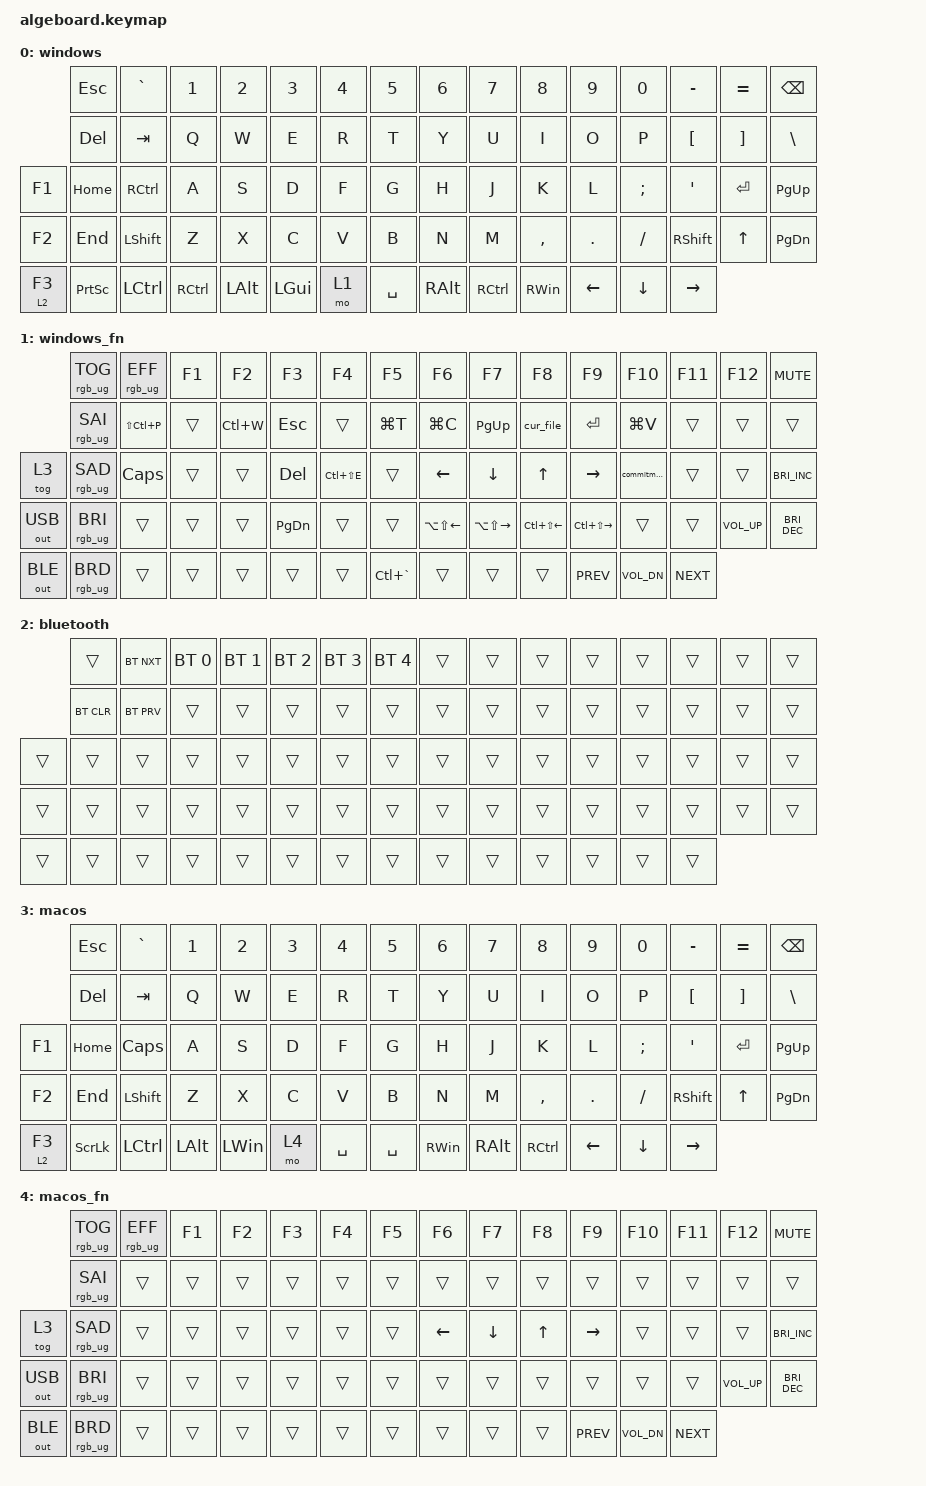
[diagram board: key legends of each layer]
/*
 * Copyright (c) 2020 The ZMK Contributors
 *
 * SPDX-License-Identifier: MIT
 */

#include <behaviors.dtsi>
#include <dt-bindings/zmk/bt.h>
#include <dt-bindings/zmk/keys.h>
#include <dt-bindings/zmk/outputs.h>
#include <dt-bindings/zmk/rgb.h>

/ {
    macros {
        commitment: commitment {
            compatible = "zmk,behavior-macro";
            label = "COMMITMENT";
            #binding-cells = <0>;
            bindings = <&kp LC(SLASH) &kp ESCAPE>;
        };

        cur_file: cur_file {
            compatible = "zmk,behavior-macro";
            label = "CUR_FILE";
            #binding-cells = <0>;
            bindings = <&kp LC(P) &kp ENTER>;
        };
    };

    keymap {
        compatible = "zmk,keymap";

        windows {
            bindings = <
          &kp ESC          &kp GRAVE   &kp N1             &kp N2    &kp N3    &kp N4  &kp N5     &kp N6    &kp N7     &kp N8     &kp N9    &kp N0     &kp MINUS   &kp EQUAL  &kp BACKSPACE
          &kp DEL          &kp TAB     &kp Q              &kp W     &kp E     &kp R   &kp T      &kp Y     &kp U      &kp I      &kp O     &kp P      &kp LBKT    &kp RBKT   &kp BACKSLASH
&kp F1    &kp HOME         &kp RCTRL   &kp A              &kp S     &kp D     &kp F   &kp G      &kp H     &kp J      &kp K      &kp L     &kp SEMI   &kp SQT     &kp ENTER  &kp PG_UP
&kp F2    &kp END          &kp LSHIFT  &kp Z              &kp X     &kp C     &kp V   &kp B      &kp N     &kp M      &kp COMMA  &kp DOT   &kp SLASH  &kp RSHIFT  &kp UP     &kp PG_DN
&lt 2 F3  &kp PRINTSCREEN  &kp LCTRL   &kp RIGHT_CONTROL  &kp LALT  &kp LGUI  &mo 1   &kp SPACE  &kp RALT  &kp RCTRL  &kp RWIN   &kp LEFT  &kp DOWN   &kp RIGHT
            >;
        };

        windows_fn {
            bindings = <
              &rgb_ug RGB_TOG  &rgb_ug RGB_EFF  &kp F1  &kp F2     &kp F3         &kp F4         &kp F5         &kp F6            &kp F7             &kp F8            &kp F9             &kp F10       &kp F11     &kp F12       &kp C_MUTE
              &rgb_ug RGB_SAI  &kp LS(LC(P))    &trans  &kp LC(W)  &kp ESCAPE     &trans         &kp LG(T)      &kp LG(C)         &kp PG_UP          &cur_file         &kp ENTER          &kp LG(V)     &trans      &trans        &trans
&tog 3        &rgb_ug RGB_SAD  &kp CAPSLOCK     &trans  &trans     &kp DELETE     &kp LC(LS(E))  &trans         &kp LEFT          &kp DOWN           &kp UP            &kp RIGHT          &commitment   &trans      &trans        &kp C_BRI_INC
&out OUT_USB  &rgb_ug RGB_BRI  &trans           &trans  &trans     &kp PAGE_DOWN  &trans         &trans         &kp LA(LS(LEFT))  &kp LA(LS(RIGHT))  &kp LC(LS(LEFT))  &kp LC(LS(RIGHT))  &trans        &trans      &kp C_VOL_UP  &kp C_BRI_DEC
&out OUT_BLE  &rgb_ug RGB_BRD  &trans           &trans  &trans     &trans         &trans         &kp LC(GRAVE)  &trans            &trans             &trans            &kp C_PREV         &kp C_VOL_DN  &kp C_NEXT
            >;
        };

        bluetooth {
            bindings = <
        &trans      &bt BT_NXT  &bt BT_SEL 0  &bt BT_SEL 1  &bt BT_SEL 2  &bt BT_SEL 3  &bt BT_SEL 4  &trans  &trans  &trans  &trans  &trans  &trans  &trans  &trans
        &bt BT_CLR  &bt BT_PRV  &trans        &trans        &trans        &trans        &trans        &trans  &trans  &trans  &trans  &trans  &trans  &trans  &trans
&trans  &trans      &trans      &trans        &trans        &trans        &trans        &trans        &trans  &trans  &trans  &trans  &trans  &trans  &trans  &trans
&trans  &trans      &trans      &trans        &trans        &trans        &trans        &trans        &trans  &trans  &trans  &trans  &trans  &trans  &trans  &trans
&trans  &trans      &trans      &trans        &trans        &trans        &trans        &trans        &trans  &trans  &trans  &trans  &trans  &trans
            >;
        };

        macos {
            bindings = <
          &kp ESC         &kp GRAVE     &kp N1    &kp N2    &kp N3  &kp N4     &kp N5     &kp N6    &kp N7    &kp N8     &kp N9    &kp N0     &kp MINUS   &kp EQUAL  &kp BACKSPACE
          &kp DEL         &kp TAB       &kp Q     &kp W     &kp E   &kp R      &kp T      &kp Y     &kp U     &kp I      &kp O     &kp P      &kp LBKT    &kp RBKT   &kp BACKSLASH
&kp F1    &kp HOME        &kp CAPSLOCK  &kp A     &kp S     &kp D   &kp F      &kp G      &kp H     &kp J     &kp K      &kp L     &kp SEMI   &kp SQT     &kp ENTER  &kp PG_UP
&kp F2    &kp END         &kp LSHIFT    &kp Z     &kp X     &kp C   &kp V      &kp B      &kp N     &kp M     &kp COMMA  &kp DOT   &kp SLASH  &kp RSHIFT  &kp UP     &kp PG_DN
&lt 2 F3  &kp SCROLLLOCK  &kp LCTRL     &kp LALT  &kp LWIN  &mo 4   &kp SPACE  &kp SPACE  &kp RWIN  &kp RALT  &kp RCTRL  &kp LEFT  &kp DOWN   &kp RIGHT
            >;
        };

        macos_fn {
            bindings = <
              &rgb_ug RGB_TOG  &rgb_ug RGB_EFF  &kp F1  &kp F2  &kp F3  &kp F4  &kp F5  &kp F6    &kp F7    &kp F8  &kp F9      &kp F10       &kp F11     &kp F12       &kp C_MUTE
              &rgb_ug RGB_SAI  &trans           &trans  &trans  &trans  &trans  &trans  &trans    &trans    &trans  &trans      &trans        &trans      &trans        &trans
&tog 3        &rgb_ug RGB_SAD  &trans           &trans  &trans  &trans  &trans  &trans  &kp LEFT  &kp DOWN  &kp UP  &kp RIGHT   &trans        &trans      &trans        &kp C_BRI_INC
&out OUT_USB  &rgb_ug RGB_BRI  &trans           &trans  &trans  &trans  &trans  &trans  &trans    &trans    &trans  &trans      &trans        &trans      &kp C_VOL_UP  &kp C_BRI_DEC
&out OUT_BLE  &rgb_ug RGB_BRD  &trans           &trans  &trans  &trans  &trans  &trans  &trans    &trans    &trans  &kp C_PREV  &kp C_VOL_DN  &kp C_NEXT
            >;
        };
    };
};
